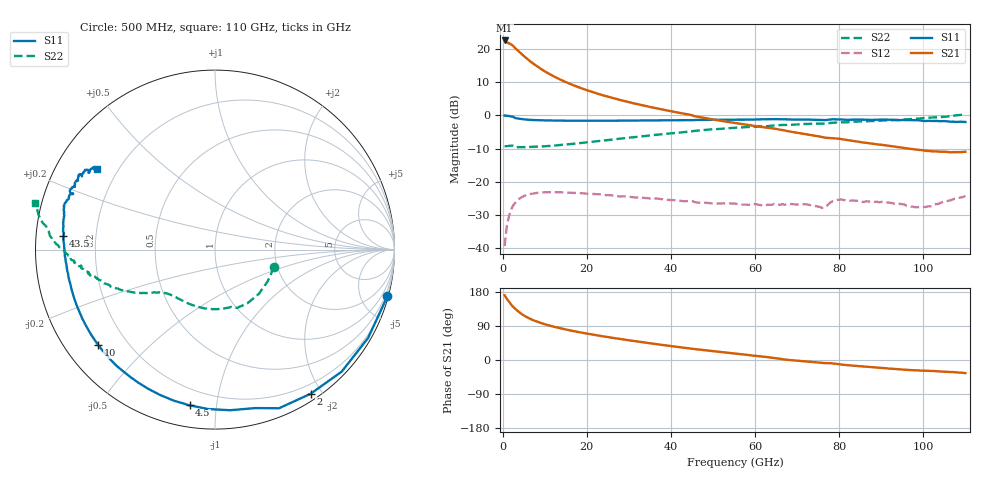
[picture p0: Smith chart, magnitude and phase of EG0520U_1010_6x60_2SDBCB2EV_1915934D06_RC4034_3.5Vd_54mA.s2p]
!File name = EG0520U_1010_6x60_2SDBCB2EV_1915934D06_RC4034_3.5Vd_54mA.s2p
!Base file name = EG0520U_1010_6x60_2SDBCB2EV_1915934D06_RC4034
!Date = 8/23/2019
!Time = 12:59 PM
!Test duration(min) = 0.15
!Test = S-Parameters
!MPTS version = 8.91.5
!State File = C:\Data\PNA\20190821205423\S-Parameters_2019-08-23.sta
!Cal File =
!ComputerName = CMPE-LAB-6
!Comments =
!Attenuation = 0
!Z0 = 50
!Input Power(dBm) = -13.00
!Device ID = EG0520U_1010_6x60_2SDBCB2EV
!Row = 40
!Column = 34
!Technology = QPHT09
!Lot/Wafer = 1915934D06
!Gate Size = 360
!Mask = EG0520
!Cal Standards = GaAs BCB
!Cal Kit = EG2306
!Job Number = 20190821205423
!Device Type = FET
!set_Vg(v) = -1.500
!set_Vd(v) = 3.500
!set_Vd(mA) = 54.000
!file_name = EG0520U_1010_6x60_2SDBCB2EV_1915934D06_RC4034_3.5Vd_54mA.s2p
!Vd(V) = 3.500
!Vd(mA) = 54.143
!Vg(V) = -0.452
!Vg(mA) = -0.002
# GHz  S  DB  R  50
!%	Freq(GHz)  s11(dB)  s11(deg)  s21(dB)  s21(deg)  s12(dB)  s12(deg)  s22(dB)  s22(deg)
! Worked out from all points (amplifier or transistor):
!   220 points, 500 MHz to 110 GHz, reference 50 ohm
!   highest |S21| = 22.6 dB at 500 MHz (marker M1)
!   |S21| within 3 dB of that: start of sweep to 3.605 GHz
!   unconditionally stable (mu >= 1): 31.21 GHz to 102.4 GHz
!   at 18.5 GHz: K = 0.56, MSG = 15.9 dB, |S12| = -23.4 dB
!   at 55.5 GHz: K = 1.59, MAG = 7.6 dB, |S12| = -26.6 dB
!   at 110 GHz: K = -1.61, MSG = 6.6 dB, |S12| = -24.2 dB
!   S11 on the Smith chart (normalised r, x): 500 MHz: 0.15, -7.49; 2 GHz: 0.08, -1.86; 4.5 GHz: 0.11, -0.84; 10 GHz: 0.10, -0.35; 43.5 GHz: 0.08, +0.05; 110 GHz: 0.13, +0.30
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0.5  -0.05 -15.2  22.59 170.7  -39.44 81.1  -9.29 -16.4
1  -0.13 -30.0  22.11 162.1  -33.68 73.3  -9.30 -31.1
1.5  -0.17 -43.9  21.73 154.4  -30.55 65.8  -9.20 -45.1
2  -0.32 -56.4  21.46 147.0  -28.56 58.9  -9.13 -58.7
2.5  -0.42 -68.0  20.99 140.5  -27.20 53.0  -9.19 -69.5
3  -0.81 -75.8  20.29 135.4  -26.41 48.6  -9.57 -73.9
3.5  -0.93 -84.6  19.71 130.3  -25.68 44.2  -9.57 -82.0
4.5  -1.12 -99.3  18.55 121.7  -24.71 36.9  -9.56 -95.4
5.5  -1.25 -110.8  17.43 114.7  -24.13 31.3  -9.57 -105.4
7  -1.39 -123.9  15.89 106.5  -23.63 24.9  -9.50 -116.0
8.5  -1.45 -133.2  14.54 100.1  -23.33 20.4  -9.44 -122.7
10  -1.51 -140.6  13.32 94.6  -23.20 16.5  -9.32 -128.0
13.5  -1.59 -152.7  10.93 84.3  -23.18 10.5  -8.97 -135.6
19  -1.63 -164.0  8.05 71.8  -23.49 5.1  -8.28 -141.7
26.5  -1.60 -173.2  5.12 57.9  -24.16 2.2  -7.22 -146.4
37  -1.50 178.7  2.02 41.1  -25.11 2.5  -5.80 -152.3
43.5  -1.43 174.8  0.42 31.8  -25.90 4.7  -5.02 -156.1
55.5  -1.31 168.0  -2.33 16.8  -26.64 8.0  -3.71 -163.6
73.5  -1.31 159.0  -5.99 -5.6  -27.24 7.6  -2.48 -172.1
92  -1.31 150.8  -9.21 -22.6  -26.32 -5.5  -1.47 -179.7
102  -1.69 148.0  -10.84 -29.1  -27.47 0.5  -0.65 174.4
110  -2.00 145.7  -10.96 -34.7  -24.25 -5.1  0.32 165.4
